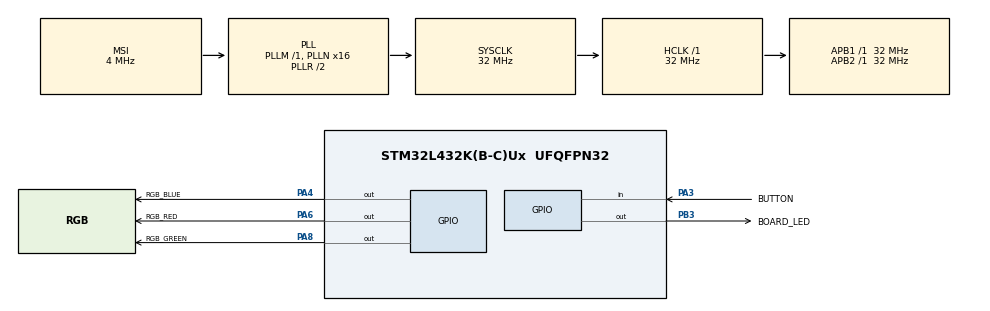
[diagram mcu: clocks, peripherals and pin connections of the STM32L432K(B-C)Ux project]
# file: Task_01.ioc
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Mcu.Family=STM32L4
Mcu.Name=STM32L432K(B-C)Ux
Mcu.Package=UFQFPN32
NVIC.PriorityGroup=NVIC_PRIORITYGROUP_4
PA0.GPIO_Label=MCO [High speed clock in]
PA0.Mode=HSE-External-Clock-Source-for-LittleOrca
PA0.Signal=RCC_CK_IN
PA13\ (JTMS-SWDIO).GPIO_Label=SWDIO
PA13\ (JTMS-SWDIO).Mode=Serial_Wire
PA13\ (JTMS-SWDIO).Signal=SYS_JTMS-SWDIO
PA14\ (JTCK-SWCLK).GPIO_Label=SWCLK
PA14\ (JTCK-SWCLK).Mode=Serial_Wire
PA14\ (JTCK-SWCLK).Signal=SYS_JTCK-SWCLK
PA15\ (JTDI).GPIO_Label=VCP_RX
PA15\ (JTDI).Signal=USART2_RX
PA3.GPIO_Label=BUTTON
PA3.Signal=GPIO_Input
PA4.GPIO_Label=RGB_BLUE
PA4.Signal=GPIO_Output
PA6.GPIO_Label=RGB_RED
PA6.Signal=GPIO_Output
PA8.GPIO_Label=RGB_GREEN
PA8.Signal=GPIO_Output
PB3\ (JTDO-TRACESWO).GPIO_Label=BOARD_LED
PB3\ (JTDO-TRACESWO).Signal=GPIO_Output
PC14-OSC32_IN\ (PC14).Mode=LSE-External-Oscillator
PC14-OSC32_IN\ (PC14).Signal=RCC_OSC32_IN
PC15-OSC32_OUT\ (PC15).Mode=LSE-External-Oscillator
PC15-OSC32_OUT\ (PC15).Signal=RCC_OSC32_OUT
ProjectManager.HeapSize=0x200
ProjectManager.StackSize=0x400
ProjectManager.TargetToolchain=STM32CubeIDE
RCC.AHBFreq_Value=32000000
RCC.APB1Freq_Value=32000000
RCC.APB1TimFreq_Value=32000000
RCC.APB2Freq_Value=32000000
RCC.APB2TimFreq_Value=32000000
RCC.CortexFreq_Value=32000000
RCC.HCLKFreq_Value=32000000
RCC.HSE_VALUE=8000000
RCC.HSI16_VALUE=16000000
RCC.HSI48_VALUE=48000000
RCC.HSI_VALUE=16000000
RCC.MSI_VALUE=4000000
RCC.PLLMUL=RCC_PLLMUL_4
RCC.PLLN=16
RCC.SYSCLKFreq_VALUE=32000000
RCC.SYSCLKSource=RCC_SYSCLKSOURCE_PLLCLK
RCC.VCOOutputFreq_Value=64000000
board=NUCLEO-L432KC

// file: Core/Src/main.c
/* USER CODE BEGIN Header */
/**
  ******************************************************************************
  * @file           : main.c
  * @brief          : Main program body
  ******************************************************************************
  * @attention
  *
  * <h2><center>&copy; Copyright (c) 2021 STMicroelectronics.
  * All rights reserved.</center></h2>
  *
  * This software component is licensed by ST under BSD 3-Clause license,
  * the "License"; You may not use this file except in compliance with the
  * License. You may obtain a copy of the License at:
  *                        opensource.org/licenses/BSD-3-Clause
  *
  ******************************************************************************
  */
/* USER CODE END Header */
#include "main.h"

/* USER CODE BEGIN PTD */
void blinky(float brightness, GPIO_TypeDef * Port, uint16_t Pin);
int buttoncheck(GPIO_TypeDef * Port, uint16_t Pin);
/* USER CODE END PTD */

/* USER CODE BEGIN PM */
#define BRIGHTNESS_1 0.1 // 10 %
#define BRIGHTNESS_2 0.4 // 40 %
#define BRIGHTNESS_3 1.0 // 100 %
#define PERIOD 20 // 20 milliseconds == 50 Hz
#define DEBOUNCE 20 // 20 milliseconds

/* USER CODE END PM */

/* USER CODE BEGIN PV */
enum switcher {
	RED,
	GREEN,
	BLUE
};
enum brightness {
	LEVEL_1,
	LEVEL_2,
	LEVEL_3
};
/* USER CODE END PV */

void SystemClock_Config(void);
static void MX_GPIO_Init(void);

int main(void)
{

  /* MCU Configuration--------------------------------------------------------*/

  /* Reset of all peripherals, Initializes the Flash interface and the Systick. */
  HAL_Init();

  /* Configure the system clock */
  SystemClock_Config();

  /* Initialize all configured peripherals */
  MX_GPIO_Init();
  /* USER CODE BEGIN 2 */
  int counter = 0;
  uint8_t stop_flag = 0;
  uint8_t next_flag = 0;
  uint8_t led_switcher = RED; // Start with RGB_RED
  uint8_t brightness_switcher = LEVEL_1; // Start with BRIGHTNESS_1
  GPIO_TypeDef * current_port;
  uint16_t current_pin;
  float current_brightness;
  // Turn LEDs off, because they are ON due to inverted logic.
  HAL_GPIO_WritePin(RGB_RED_GPIO_Port, RGB_RED_Pin, GPIO_PIN_SET);
  HAL_GPIO_WritePin(RGB_GREEN_GPIO_Port, RGB_GREEN_Pin, GPIO_PIN_SET);
  HAL_GPIO_WritePin(RGB_BLUE_GPIO_Port, RGB_BLUE_Pin, GPIO_PIN_SET);
  HAL_GPIO_WritePin(BOARD_LED_GPIO_Port, BOARD_LED_Pin, GPIO_PIN_SET); // Board LED on == Program running
  /* USER CODE END 2 */

  /* Infinite loop */
  /* USER CODE BEGIN WHILE */
  while (1)
  {
	  // Set current active LED
	  switch(led_switcher) {
	  case RED:
		  current_port = RGB_RED_GPIO_Port;
		  current_pin = RGB_RED_Pin;
		  break;
	  case GREEN:
		  current_port = RGB_GREEN_GPIO_Port;
		  current_pin = RGB_GREEN_Pin;
		  break;
	  case BLUE:
		  current_port = RGB_BLUE_GPIO_Port;
		  current_pin = RGB_BLUE_Pin;
		  break;
	  }
	  // Set current active brightness
	  switch(brightness_switcher) {
	  case LEVEL_1:
		  current_brightness = BRIGHTNESS_1;
		  break;
	  case LEVEL_2:
		  current_brightness = BRIGHTNESS_2;
		  break;
	  case LEVEL_3:
		  current_brightness = BRIGHTNESS_3;
		  break;
	  }
	  blinky(current_brightness, current_port, current_pin);
	  if(!buttoncheck(BUTTON_GPIO_Port, BUTTON_Pin)) {
		  next_flag = 1; // Set flag to switch to next brightness / LED
		  while(HAL_GPIO_ReadPin(BUTTON_GPIO_Port, BUTTON_Pin) == 0) {
			  counter++;
			  // Turn LED / Program OFF after approximately 1 second
			  // 50 * 0.02s = 1s
			  if(counter >= 50) {
				  stop_flag = 1;
				  next_flag = 0;
				  brightness_switcher = LEVEL_1;
				  led_switcher = RED;
				  HAL_GPIO_WritePin(RGB_RED_GPIO_Port, RGB_RED_Pin, GPIO_PIN_SET);
				  HAL_GPIO_WritePin(RGB_GREEN_GPIO_Port, RGB_GREEN_Pin, GPIO_PIN_SET);
				  HAL_GPIO_WritePin(RGB_BLUE_GPIO_Port, RGB_BLUE_Pin, GPIO_PIN_SET);
				  // Board LED OFF == Program stops
				  HAL_GPIO_WritePin(BOARD_LED_GPIO_Port, BOARD_LED_Pin, GPIO_PIN_RESET);
				  break;
			  }
			  blinky(current_brightness, current_port, current_pin); // Acts as de-bounce
		  }
		  counter = 0; // Reset counter when exiting HOLD loop
	  }
	  if(next_flag) {
		  brightness_switcher++;
		  if(brightness_switcher >= 3) { // Switch to next color when last brightness is reached
			  brightness_switcher = LEVEL_1;
			  led_switcher++;
			  if(led_switcher >= 3) { // Reset to 1st color when this was the last.
				  led_switcher = RED;
			  }
		  }
		  next_flag = 0;
	  }
	  // Endless loop for halting the program
	  while(stop_flag) {
		  if(!buttoncheck(BUTTON_GPIO_Port, BUTTON_Pin)) {
			  // Start loop as long as button is pressed
			  while(HAL_GPIO_ReadPin(BUTTON_GPIO_Port, BUTTON_Pin) == 0) {
				  counter++;
				  // If counter reaches 50, approximately 1 second has passed
				  // Resume the program.
				  if(counter >= 50) {
					  stop_flag = 0;
					  HAL_GPIO_WritePin(BOARD_LED_GPIO_Port, BOARD_LED_Pin, GPIO_PIN_SET);
					  break;
				  }
				  HAL_Delay(DEBOUNCE);
			  }
			  counter = 0; // Reset counter when exiting HOLD loop
		  }
	  }
    /* USER CODE END WHILE */

  }
}

void SystemClock_Config(void)
{
  RCC_OscInitTypeDef RCC_OscInitStruct = {0};
  RCC_ClkInitTypeDef RCC_ClkInitStruct = {0};

  /** Configure the main internal regulator output voltage
  */
  if (HAL_PWREx_ControlVoltageScaling(PWR_REGULATOR_VOLTAGE_SCALE1) != HAL_OK)
  {
    Error_Handler();
  }
  /** Configure LSE Drive Capability
  */
  HAL_PWR_EnableBkUpAccess();
  __HAL_RCC_LSEDRIVE_CONFIG(RCC_LSEDRIVE_LOW);
  /** Initializes the RCC Oscillators according to the specified parameters
  * in the RCC_OscInitTypeDef structure.
  */
  RCC_OscInitStruct.OscillatorType = RCC_OSCILLATORTYPE_LSE|RCC_OSCILLATORTYPE_MSI;
  RCC_OscInitStruct.LSEState = RCC_LSE_ON;
  RCC_OscInitStruct.MSIState = RCC_MSI_ON;
  RCC_OscInitStruct.MSICalibrationValue = 0;
  RCC_OscInitStruct.MSIClockRange = RCC_MSIRANGE_6;
  RCC_OscInitStruct.PLL.PLLState = RCC_PLL_ON;
  RCC_OscInitStruct.PLL.PLLSource = RCC_PLLSOURCE_MSI;
  RCC_OscInitStruct.PLL.PLLM = 1;
  RCC_OscInitStruct.PLL.PLLN = 16;
  RCC_OscInitStruct.PLL.PLLP = RCC_PLLP_DIV7;
  RCC_OscInitStruct.PLL.PLLQ = RCC_PLLQ_DIV2;
  RCC_OscInitStruct.PLL.PLLR = RCC_PLLR_DIV2;
  if (HAL_RCC_OscConfig(&RCC_OscInitStruct) != HAL_OK)
  {
    Error_Handler();
  }
  /** Initializes the CPU, AHB and APB buses clocks
  */
  RCC_ClkInitStruct.ClockType = RCC_CLOCKTYPE_HCLK|RCC_CLOCKTYPE_SYSCLK
                              |RCC_CLOCKTYPE_PCLK1|RCC_CLOCKTYPE_PCLK2;
  RCC_ClkInitStruct.SYSCLKSource = RCC_SYSCLKSOURCE_PLLCLK;
  RCC_ClkInitStruct.AHBCLKDivider = RCC_SYSCLK_DIV1;
  RCC_ClkInitStruct.APB1CLKDivider = RCC_HCLK_DIV1;
  RCC_ClkInitStruct.APB2CLKDivider = RCC_HCLK_DIV1;

  if (HAL_RCC_ClockConfig(&RCC_ClkInitStruct, FLASH_LATENCY_1) != HAL_OK)
  {
    Error_Handler();
  }
  /** Enable MSI Auto calibration
  */
  HAL_RCCEx_EnableMSIPLLMode();
}

static void MX_GPIO_Init(void)
{
  GPIO_InitTypeDef GPIO_InitStruct = {0};

  /* GPIO Ports Clock Enable */
  __HAL_RCC_GPIOC_CLK_ENABLE();
  __HAL_RCC_GPIOA_CLK_ENABLE();
  __HAL_RCC_GPIOB_CLK_ENABLE();

  /*Configure GPIO pin Output Level */
  HAL_GPIO_WritePin(GPIOA, RGB_BLUE_Pin|RGB_RED_Pin|RGB_GREEN_Pin, GPIO_PIN_RESET);

  /*Configure GPIO pin Output Level */
  HAL_GPIO_WritePin(BOARD_LED_GPIO_Port, BOARD_LED_Pin, GPIO_PIN_RESET);

  /*Configure GPIO pin : BUTTON_Pin */
  GPIO_InitStruct.Pin = BUTTON_Pin;
  GPIO_InitStruct.Mode = GPIO_MODE_INPUT;
  GPIO_InitStruct.Pull = GPIO_NOPULL;
  HAL_GPIO_Init(BUTTON_GPIO_Port, &GPIO_InitStruct);

  /*Configure GPIO pins : RGB_BLUE_Pin RGB_RED_Pin RGB_GREEN_Pin */
  GPIO_InitStruct.Pin = RGB_BLUE_Pin|RGB_RED_Pin|RGB_GREEN_Pin;
  GPIO_InitStruct.Mode = GPIO_MODE_OUTPUT_PP;
  GPIO_InitStruct.Pull = GPIO_NOPULL;
  GPIO_InitStruct.Speed = GPIO_SPEED_FREQ_LOW;
  HAL_GPIO_Init(GPIOA, &GPIO_InitStruct);

  /*Configure GPIO pin : VCP_RX_Pin */
  GPIO_InitStruct.Pin = VCP_RX_Pin;
  GPIO_InitStruct.Mode = GPIO_MODE_AF_PP;
  GPIO_InitStruct.Pull = GPIO_NOPULL;
  GPIO_InitStruct.Speed = GPIO_SPEED_FREQ_VERY_HIGH;
  GPIO_InitStruct.Alternate = GPIO_AF3_USART2;
  HAL_GPIO_Init(VCP_RX_GPIO_Port, &GPIO_InitStruct);

  /*Configure GPIO pin : BOARD_LED_Pin */
  GPIO_InitStruct.Pin = BOARD_LED_Pin;
  GPIO_InitStruct.Mode = GPIO_MODE_OUTPUT_PP;
  GPIO_InitStruct.Pull = GPIO_NOPULL;
  GPIO_InitStruct.Speed = GPIO_SPEED_FREQ_LOW;
  HAL_GPIO_Init(BOARD_LED_GPIO_Port, &GPIO_InitStruct);

}

/* USER CODE BEGIN 4 */
void blinky(float duty_cycle, GPIO_TypeDef * Port, uint16_t Pin) {
	// Period = 20ms -> 50 Hertz
	// on_time -> 10%, 50% or 100% => 20 * 0.1 | 0.5 | 1.0
	// off_time -> Period - on_time
	// duty_cycle == brightness
	int on_time = (int)(PERIOD * duty_cycle);
	int off_time = PERIOD - on_time;
	HAL_GPIO_WritePin(Port, Pin, GPIO_PIN_RESET); // LED on
	HAL_Delay(on_time);
	HAL_GPIO_WritePin(Port, Pin, GPIO_PIN_SET); // LED off
	HAL_Delay(off_time);
}
int buttoncheck(GPIO_TypeDef * Port, uint16_t Pin) {
	uint8_t button_value = HAL_GPIO_ReadPin(Port, Pin);
	// Only de-bounce if button was actually pressed.
	if(!button_value) {
		HAL_Delay(DEBOUNCE);
	}
	return button_value;
}
/* USER CODE END 4 */

void Error_Handler(void)
{
  __disable_irq();
  while (1)
  {
  }
}

/************************ (C) COPYRIGHT STMicroelectronics *****END OF FILE****/
